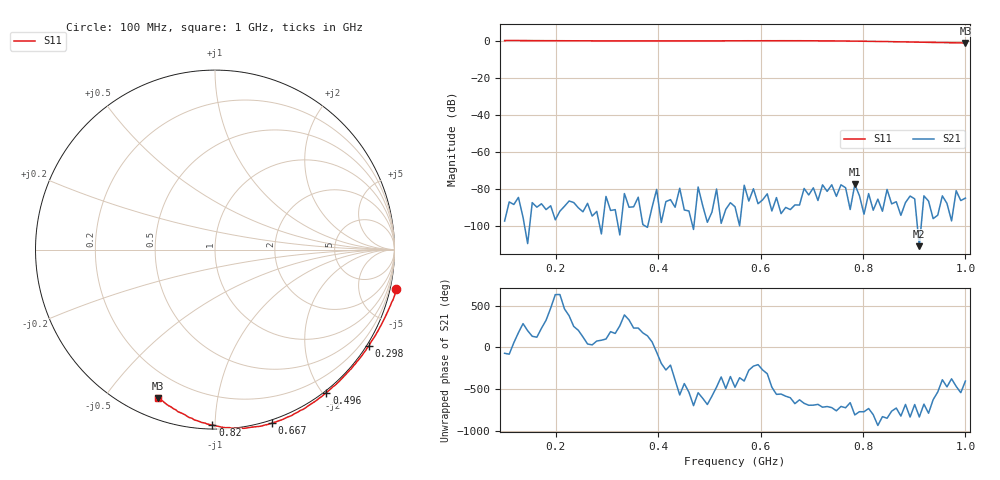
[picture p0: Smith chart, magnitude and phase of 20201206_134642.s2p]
# HZ S RI R 50
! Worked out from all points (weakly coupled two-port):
!   101 points, 100 MHz to 1 GHz, reference 50 ohm
!   highest |S21| = -77.40 dB at 784 MHz (marker M1); lowest = -110.7 dB at 910 MHz (marker M2)
!   lowest |S11| = -1.1 dB at 1 GHz (marker M3), VSWR 16.47, Z = 4.46 - j34.1 ohm
!   |S11| at or under -10 dB: nowhere
!   S12 and S22 are empty: the file has one direction only
!   S11 on the Smith chart (normalised r, x): 100 MHz: -1.26, -9.13; 298 MHz: -0.07, -3.48; 496 MHz: -0.03, -2.05; 667 MHz: -0.02, -1.38; 820 MHz: 0.02, -0.99; 1 GHz: 0.09, -0.68
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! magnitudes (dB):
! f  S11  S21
! 100 MHz  0.3  -97.1
! 253 MHz  0.1  -92.1
! 298 MHz  0.1  -83.9
! 406 MHz  0.1  -97.9
! 496 MHz  0.1  -97.8
! 550 MHz  0.1  -89.4
! 568 MHz  0.1  -77.8
! 577 MHz  0.1  -86.3
! 667 MHz  0.1  -88.4
! 703 MHz  0.1  -79.2
! 721 MHz  0.1  -77.6
! 730 MHz  0.1  -81.1
! 739 MHz  0.1  -77.6
! 748 MHz  0.0  -83.8
! 757 MHz  0.0  -77.6
! 775 MHz  0.0  -90.9
! 784 MHz  -0.1  -77.4
! 793 MHz  -0.1  -83.4
! 820 MHz  -0.2  -91.3
! 856 MHz  -0.4  -87.8
! 910 MHz  -0.6  -110.7
! 1 GHz  -1.1  -84.8
